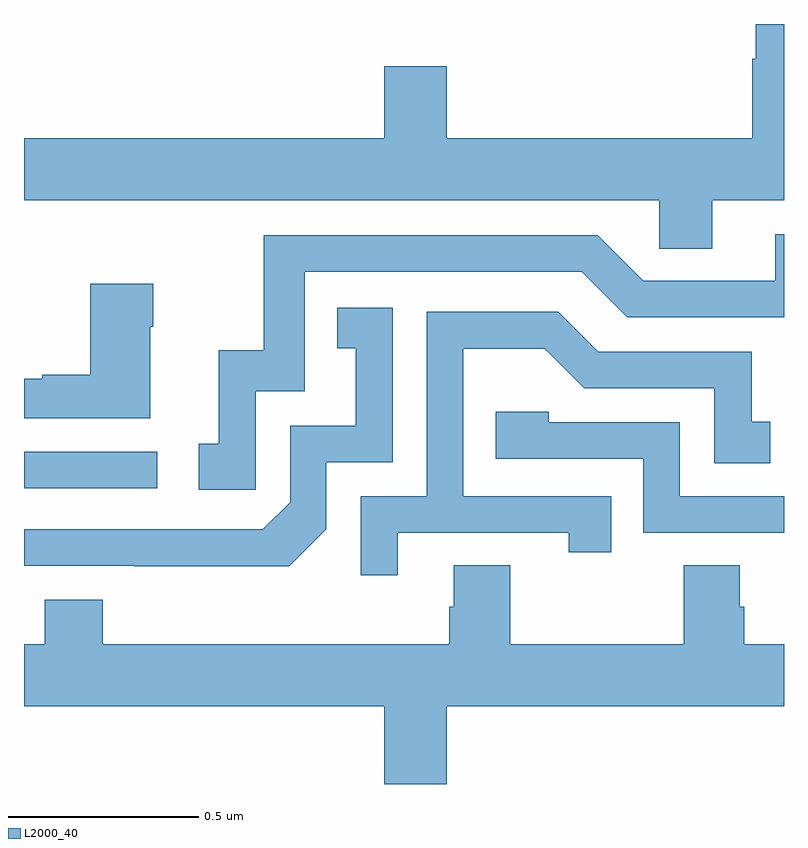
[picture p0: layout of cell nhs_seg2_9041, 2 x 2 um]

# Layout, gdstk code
import gdstk
lib = gdstk.Library(unit=1e-6, precision=1e-09)
def R(c, l, rs):  # rectangles x0, y0, x1, y1
    for r in rs: c.add(gdstk.rectangle(r[:2], r[2:], *l))
def P(c, l, *ps):  # polygons
    for p in ps: c.add(gdstk.Polygon(p, *l))
L2000_40 = (2000, 40)

nhs_seg2_9041 = lib.new_cell('nhs_seg2_9041')
R(nhs_seg2_9041, L2000_40, [(224,613.578,224.35,613.674)])
P(nhs_seg2_9041, L2000_40, [(225.112,614.689),(224.948,614.689),(224.948,614.5),(224,614.5),(224,614.336),(225.672,614.336),(225.672,614.209),(225.811,614.209),(225.811,614.336),(226,614.336),(226,614.8),(225.926,614.8),(225.926,614.708),(225.917,614.708),(225.917,614.5),(225.112,614.5)],
  [(224.61,613.833),(224.739,613.833),(224.739,614.148),(225.468,614.148),(225.588,614.028),(226,614.028),(226,614.247),(225.977,614.247),(225.977,614.124),(225.63,614.124),(225.51,614.244),(224.631,614.244),(224.631,613.942),(224.513,613.942),(224.513,613.695),(224.46,613.695),(224.46,613.575),(224.61,613.575)],
  [(224.332,614.003),(224.34,614.003),(224.34,614.116),(224.174,614.116),(224.174,613.877),(224.048,613.877),(224.048,613.867),(224,613.867),(224,613.763),(224.332,613.763)],
  [(224.796,613.47),(224.796,613.647),(224.97,613.647),(224.97,614.053),(224.824,614.053),(224.824,613.947),(224.873,613.947),(224.873,613.743),(224.7,613.743),(224.7,613.542),(224.628,613.47),(224,613.47),(224,613.374),(224.29,613.374),(224.29,613.373),(224.698,613.373)],
  [(224.983,613.461),(225.434,613.461),(225.434,613.41),(225.545,613.41),(225.545,613.557),(225.156,613.557),(225.156,613.946),(225.37,613.946),(225.474,613.842),(225.816,613.842),(225.816,613.644),(225.964,613.644),(225.964,613.753),(225.915,613.753),(225.915,613.938),(225.511,613.938),(225.406,614.043),(225.06,614.043),(225.06,613.557),(224.886,613.557),(224.886,613.35),(224.983,613.35)],
  [(226,613.557),(225.726,613.557),(225.726,613.752),(225.381,613.752),(225.381,613.779),(225.241,613.779),(225.241,613.656),(225.63,613.656),(225.63,613.461),(226,613.461)],
  [(225.112,613.004),(226,613.004),(226,613.168),(225.896,613.168),(225.896,613.266),(225.883,613.266),(225.883,613.376),(225.736,613.376),(225.736,613.168),(225.279,613.168),(225.279,613.376),(225.131,613.376),(225.131,613.266),(225.119,613.266),(225.119,613.168),(224.207,613.168),(224.207,613.285),(224.054,613.285),(224.054,613.168),(224,613.168),(224,613.004),(224.948,613.004),(224.948,612.8),(225.112,612.8)])

lib.write_gds('nhs_seg2_9041.gds')
